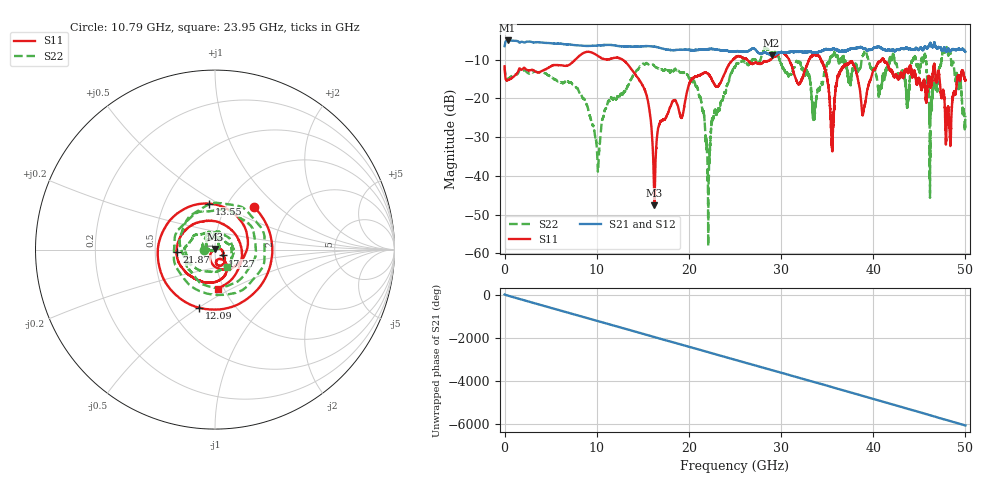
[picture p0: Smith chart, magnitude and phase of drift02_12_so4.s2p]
!Created with skrf (http://scikit-rf.org).
# Hz S RI R 50.0
!freq ReS11 ImS11 ReS21 ImS21 ReS12 ImS12 ReS22 ImS22
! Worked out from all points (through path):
!   10001 points, 300 kHz to 50 GHz, reference 50 ohm
!   highest |S21| = -5.04 dB at 325.3 MHz (marker M1); lowest = -8.9 dB at 28.98 GHz (marker M2)
!   group delay of S21, straight-line fit = 336 ps
!   lowest |S11| = -47.6 dB at 16.25 GHz (marker M3), VSWR 1.01, Z = 49.8 + j0.386 ohm
!   |S11| at or under -10 dB: start of sweep to 7.669 GHz; 12.81 GHz to 24.78 GHz (11.96 GHz wide, 63.6 % of centre); 41.13 GHz to end of sweep (the widest 3 of 10)
!   |S22| runs from -58.1 to -6.7 dB; largest |S21 - S12| = 0.031
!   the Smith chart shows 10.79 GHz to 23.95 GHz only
!   S11 on the Smith chart (normalised r, x): 10.79 GHz: 1.34, +0.71; 12.09 GHz: 0.69, -0.50; 13.55 GHz: 0.83, +0.45; 17.27 GHz: 1.09, -0.07; 21.87 GHz: 0.65, -0.02; 23.95 GHz: 0.94, -0.43
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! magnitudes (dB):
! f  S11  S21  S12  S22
! 300 kHz  -11.7  -6.5  -6.5  -11.7
! 325.3 MHz  -15.3  -5.0  -5.0  -15.1
! 8.335 GHz  -8.6  -6.4  -6.4  -19.1
! 10.11 GHz  -9.0  -6.3  -6.3  -37.8
! 10.79 GHz  -9.9  -6.2  -6.2  -23.9
! 12.09 GHz  -9.5  -6.4  -6.4  -20.2
! 13.55 GHz  -11.8  -6.6  -6.6  -16.0
! 16.25 GHz  -47.6  -6.6  -6.6  -11.6
! 16.67 GHz  -27.6  -6.8  -6.8  -12.2
! 17.27 GHz  -25.4  -7.2  -7.2  -12.9
! 20.74 GHz  -14.3  -7.5  -7.5  -16.9
! 21.87 GHz  -13.4  -7.4  -7.4  -31.2
! 23.95 GHz  -13.2  -7.6  -7.6  -18.6
! 25 GHz  -9.6  -7.9  -7.9  -11.9
! 28.98 GHz  -9.8  -8.9  -8.8  -8.1
! 33.34 GHz  -9.2  -8.0  -8.0  -20.1
! 35.54 GHz  -31.3  -7.3  -7.3  -9.1
! 36.81 GHz  -11.8  -7.9  -8.1  -10.1
! 41.67 GHz  -11.9  -7.4  -7.5  -11.7
! 46.25 GHz  -17.3  -6.1  -6.1  -22.2
! 48.13 GHz  -22.2  -7.2  -7.2  -8.6
! 50 GHz  -15.3  -7.9  -7.9  -24.5
